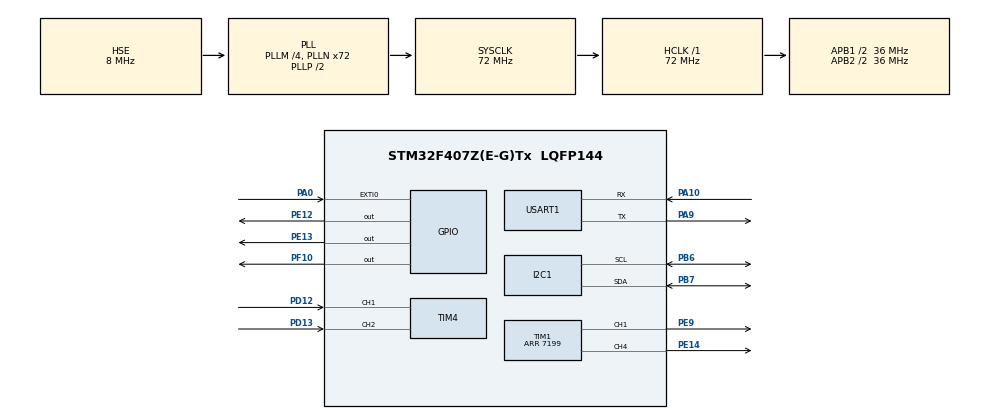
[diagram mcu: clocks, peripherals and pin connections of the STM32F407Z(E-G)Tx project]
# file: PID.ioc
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Mcu.Family=STM32F4
Mcu.Name=STM32F407Z(E-G)Tx
Mcu.Package=LQFP144
NVIC.EXTI0_IRQn=true\:1\:0\:true\:false\:true\:true\:true\:true
NVIC.PriorityGroup=NVIC_PRIORITYGROUP_4
NVIC.TIM2_IRQn=true\:1\:0\:true\:false\:true\:true\:true\:true
NVIC.TIM4_IRQn=true\:0\:0\:false\:false\:true\:true\:true\:true
PA0-WKUP.Signal=GPXTI0
PA10.Mode=Asynchronous
PA10.Signal=USART1_RX
PA13.Mode=Serial_Wire
PA13.Signal=SYS_JTMS-SWDIO
PA14.Mode=Serial_Wire
PA14.Signal=SYS_JTCK-SWCLK
PA9.Mode=Asynchronous
PA9.Signal=USART1_TX
PB6.Mode=I2C
PB6.Signal=I2C1_SCL
PB7.Mode=I2C
PB7.Signal=I2C1_SDA
PD12.Signal=S_TIM4_CH1
PD13.Signal=S_TIM4_CH2
PE12.PinState=GPIO_PIN_RESET
PE12.Signal=GPIO_Output
PE13.PinState=GPIO_PIN_SET
PE13.Signal=GPIO_Output
PE14.Signal=S_TIM1_CH4
PE9.Signal=S_TIM1_CH1
PF10.Signal=GPIO_Output
PH0-OSC_IN.Mode=HSE-External-Oscillator
PH0-OSC_IN.Signal=RCC_OSC_IN
PH1-OSC_OUT.Mode=HSE-External-Oscillator
PH1-OSC_OUT.Signal=RCC_OSC_OUT
ProjectManager.HeapSize=0x200
ProjectManager.StackSize=0x400
ProjectManager.TargetToolchain=MDK-ARM V5.32
RCC.48MHZClocksFreq_Value=36000000
RCC.AHBFreq_Value=72000000
RCC.APB1CLKDivider=RCC_HCLK_DIV2
RCC.APB1Freq_Value=36000000
RCC.APB1TimFreq_Value=72000000
RCC.APB2CLKDivider=RCC_HCLK_DIV2
RCC.APB2Freq_Value=36000000
RCC.APB2TimFreq_Value=72000000
RCC.CortexFreq_Value=72000000
RCC.HCLKFreq_Value=72000000
RCC.HSE_VALUE=8000000
RCC.HSI_VALUE=16000000
RCC.LSE_VALUE=32768
RCC.PLLM=4
RCC.PLLN=72
RCC.PLLSourceVirtual=RCC_PLLSOURCE_HSE
RCC.SYSCLKFreq_VALUE=72000000
RCC.SYSCLKSource=RCC_SYSCLKSOURCE_PLLCLK
RCC.VCOOutputFreq_Value=144000000
SH.S_TIM1_CH1.0=TIM1_CH1,PWM Generation1 CH1
SH.S_TIM1_CH4.0=TIM1_CH4,PWM Generation4 CH4
SH.S_TIM4_CH1.0=TIM4_CH1,Encoder_Interface
SH.S_TIM4_CH2.0=TIM4_CH2,Encoder_Interface
TIM1.Channel-PWM\ Generation1\ CH1=TIM_CHANNEL_1
TIM1.Channel-PWM\ Generation4\ CH4=TIM_CHANNEL_4
TIM1.Period=7199
TIM2.AutoReloadPreload=TIM_AUTORELOAD_PRELOAD_ENABLE
TIM2.Period=99
TIM2.Prescaler=7199
USART1.VirtualMode=VM_ASYNC
VP_TIM2_VS_ClockSourceINT.Mode=Internal
board=custom

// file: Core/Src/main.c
/* USER CODE BEGIN Header */
/**
  ******************************************************************************
  * @file           : main.c
  * @brief          : Main program body
  ******************************************************************************
  * @attention
  *
  * Copyright (c) 2025 STMicroelectronics.
  * All rights reserved.
  *
  * This software is licensed under terms that can be found in the LICENSE file
  * in the root directory of this software component.
  * If no LICENSE file comes with this software, it is provided AS-IS.
  *
  ******************************************************************************
  */
/* USER CODE END Header */
#include "main.h"
#include "i2c.h"
#include "tim.h"
#include "usart.h"
#include "gpio.h"

/* USER CODE BEGIN Includes */
#include <stdio.h>
#include "oled.h"
/* USER CODE END Includes */

/* USER CODE BEGIN PM */
uint8_t KeyNum = 0;
/* USER CODE END PM */

float Target = 50, Actual, Out;			//目标值，实际值，输出值
float Error0, Error1, ErrorInt;		//本次误差，上次误差，误差积分
float Kp=10, Ki=5, Kd;					//比例项，积分项，微分项的权重

void SystemClock_Config(void);
/* USER CODE BEGIN PFP */
void HAL_TIM_PeriodElapsedCallback(TIM_HandleTypeDef *htim)
{
	if(htim == (&htim2))
	{
		//当前速度
		Actual = (__HAL_TIM_GET_COUNTER(&htim4)) / (52*0.01); //速度 = 脉冲总数 / （单圈脉冲总数 * 时间周期）
		__HAL_TIM_SET_COUNTER(&htim4,0);

		//本次误差Error0 上次误差Error1
		Error1 = Error0;
		Error0 = Target - Actual;

		//误差积分
		if (Ki != 0)
		{
			ErrorInt += Error0;
		}
		else
		{
			ErrorInt = 0;
		}

		//PID计算
		Out = Kp * Error0 + Ki * ErrorInt + Kd * (Error0 - Error1);

		//输出限幅
		if (Out > 7200) {Out = 7200;}
		if (Out < -7200) {Out = -7200;}

		/*执行控制*/
		/*输出值给到电机PWM*/
		__HAL_TIM_SET_COMPARE(&htim1, TIM_CHANNEL_4, Out);
	}
}
/* USER CODE END PFP */

/* USER CODE BEGIN 0 */
void HAL_GPIO_EXTI_Callback(uint16_t GPIO_Pin)
{
	if(GPIO_Pin== GPIO_PIN_0)
	{
		HAL_Delay(20);
		if(HAL_GPIO_ReadPin(GPIOA,GPIO_PIN_0)==1)
		{
			KeyNum++;
		}
		__HAL_GPIO_EXTI_CLEAR_IT(GPIO_PIN_0);
	}
}
/* USER CODE END 0 */

int main(void)
{

  /* MCU Configuration--------------------------------------------------------*/

  /* Reset of all peripherals, Initializes the Flash interface and the Systick. */
  HAL_Init();

  /* Configure the system clock */
  SystemClock_Config();

  /* Initialize all configured peripherals */
  MX_GPIO_Init();
  MX_USART1_UART_Init();
  MX_TIM1_Init();
  MX_TIM2_Init();
  MX_TIM4_Init();
  MX_I2C1_Init();
  /* USER CODE BEGIN 2 */
	HAL_TIM_PWM_Start(&htim1, TIM_CHANNEL_4);
	HAL_TIM_Encoder_Start(&htim4, TIM_CHANNEL_1);
	HAL_TIM_Encoder_Start(&htim4, TIM_CHANNEL_2);
	HAL_TIM_Base_Start_IT(&htim2);

	 OLED_Init();
	 OLED_Clear();

	OLED_ShowString(0,0,"Target:",16, 1);
	OLED_ShowString(0,3,"Actual:",16,1);
	OLED_ShowString(0,6,"Out:",16,1);

	OLED_ShowString(100,0,"r/s",16, 1);
	OLED_ShowString(100,3,"r/s",16,1);
	OLED_ShowString(100,6,"%",16,1);
  /* USER CODE END 2 */

  /* Infinite loop */
  /* USER CODE BEGIN WHILE */
  while (1)
  {
		if(KeyNum==0)
		{
			Target = 50;
		}
		else if(KeyNum==1)
		{
			Target = 30;
		}
		else if(KeyNum==3)
		{
			Target = 10;
		}
//		HAL_GPIO_TogglePin(GPIOF,GPIO_PIN_10);
	 OLED_ShowNum(60,0,Target,3,16, 0);
	 OLED_ShowNum(60,3,Actual,3,16, 0);
	 OLED_ShowNum(60,6,Out/7200*100,3,16, 0);
		printf("%f,%f,%f\r\n", Target, Actual, Out/7200*100);
    /* USER CODE END WHILE */

  }
}

void SystemClock_Config(void)
{
  RCC_OscInitTypeDef RCC_OscInitStruct = {0};
  RCC_ClkInitTypeDef RCC_ClkInitStruct = {0};

  /** Configure the main internal regulator output voltage
  */
  __HAL_RCC_PWR_CLK_ENABLE();
  __HAL_PWR_VOLTAGESCALING_CONFIG(PWR_REGULATOR_VOLTAGE_SCALE1);

  /** Initializes the RCC Oscillators according to the specified parameters
  * in the RCC_OscInitTypeDef structure.
  */
  RCC_OscInitStruct.OscillatorType = RCC_OSCILLATORTYPE_HSE;
  RCC_OscInitStruct.HSEState = RCC_HSE_ON;
  RCC_OscInitStruct.PLL.PLLState = RCC_PLL_ON;
  RCC_OscInitStruct.PLL.PLLSource = RCC_PLLSOURCE_HSE;
  RCC_OscInitStruct.PLL.PLLM = 4;
  RCC_OscInitStruct.PLL.PLLN = 72;
  RCC_OscInitStruct.PLL.PLLP = RCC_PLLP_DIV2;
  RCC_OscInitStruct.PLL.PLLQ = 4;
  if (HAL_RCC_OscConfig(&RCC_OscInitStruct) != HAL_OK)
  {
    Error_Handler();
  }

  /** Initializes the CPU, AHB and APB buses clocks
  */
  RCC_ClkInitStruct.ClockType = RCC_CLOCKTYPE_HCLK|RCC_CLOCKTYPE_SYSCLK
                              |RCC_CLOCKTYPE_PCLK1|RCC_CLOCKTYPE_PCLK2;
  RCC_ClkInitStruct.SYSCLKSource = RCC_SYSCLKSOURCE_PLLCLK;
  RCC_ClkInitStruct.AHBCLKDivider = RCC_SYSCLK_DIV1;
  RCC_ClkInitStruct.APB1CLKDivider = RCC_HCLK_DIV2;
  RCC_ClkInitStruct.APB2CLKDivider = RCC_HCLK_DIV2;

  if (HAL_RCC_ClockConfig(&RCC_ClkInitStruct, FLASH_LATENCY_2) != HAL_OK)
  {
    Error_Handler();
  }
}

/* USER CODE BEGIN 4 */
int fputc(int ch, FILE *f)
{
	HAL_UART_Transmit(&huart1, (uint8_t *)&ch, 1, 0xffff);
	return ch;
}
/* USER CODE END 4 */

void Error_Handler(void)
{
  __disable_irq();
  while (1)
  {
  }
}
